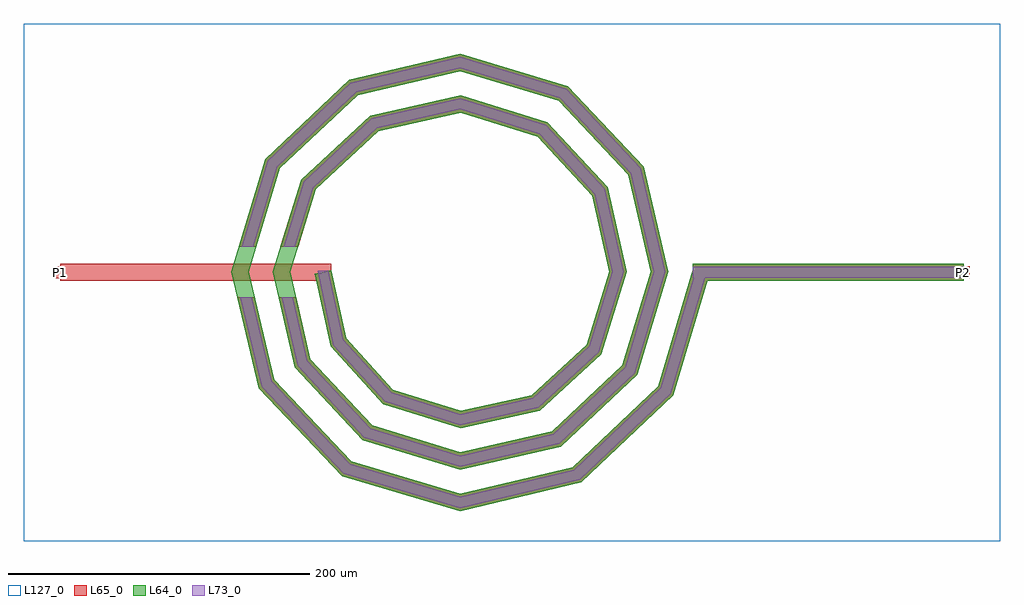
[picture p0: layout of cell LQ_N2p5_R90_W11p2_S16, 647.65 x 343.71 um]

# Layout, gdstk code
import gdstk
lib = gdstk.Library(unit=1e-6, precision=1e-09)
def R(c, l, rs):  # rectangles x0, y0, x1, y1
    for r in rs: c.add(gdstk.rectangle(r[:2], r[2:], *l))
def P(c, l, *ps):  # polygons
    for p in ps: c.add(gdstk.Polygon(p, *l))
L64_0 = (64, 0)
L65_0 = (65, 0)
L73_0 = (73, 0)
L127_0 = (127, 0)

lq_n2p5_r90_w11p2_s16 = lib.new_cell('LQ_N2p5_R90_W11p2_S16')
R(lq_n2p5_r90_w11p2_s16, L64_0, [(154.214,-5.6,334.214,5.6)])
P(lq_n2p5_r90_w11p2_s16, L64_0, [(-75.673,-43.997),(-44.688,-77.921),(0.253,-92.118),(47.42,-81.638),(83.868,-48.142),(98.996,0.237),(87.602,50.845),(51.594,89.817),(0.222,105.873),(-54.271,93.566),(-95.766,55.045),(-112.751,0.209),(-99.528,-57.699),(-58.494,-101.717),(0.198,-119.629),(61.129,-105.49),(107.668,-61.942),(126.506,0.187),(111.451,64.559),(65.389,113.619),(0.178,133.384),(-67.99,117.412),(-119.571,68.835),(-140.262,0.17),(-123.372,-71.422),(-72.281,-125.524),(0.162,-147.14),(74.855,-129.333),(131.477,-75.726),(154.445,1.595),(165.182,-1.595),(141.358,-81.795),(80.374,-139.531),(0.162,-158.731),(-78.362,-135.397),(-133.578,-76.928),(-151.853,0.17),(-129.437,74.929),(-73.482,127.625),(0.178,144.975),(71.498,123.476),(121.673,70.035),(138.096,0.187),(117.514,-68.067),(66.587,-115.721),(0.198,-131.218),(-64.637,-111.552),(-109.769,-63.139),(-124.34,0.209),(-105.589,61.208),(-59.689,103.819),(0.222,117.461),(57.78,99.625),(97.869,56.237),(110.583,0.237),(93.661,-54.354),(52.784,-91.92),(0.253,-103.704),(-50.93,-87.695),(-85.972,-49.329),(-96.504,-1.197),(-85.563,1.197)])
R(lq_n2p5_r90_w11p2_s16, L65_0, [(-265.433,-5.6,-85.433,5.6), (154.214,-5.6,334.214,5.6), (-269.433,-4,-261.433,4), (330.214,-4,338.214,4)])
P(lq_n2p5_r90_w11p2_s16, L65_0, [(-123.372,-71.422),(-72.281,-125.524),(0.162,-147.14),(74.855,-129.333),(131.477,-75.726),(154.445,1.595),(165.182,-1.595),(141.358,-81.795),(80.374,-139.531),(0.162,-158.731),(-78.362,-135.397),(-133.578,-76.928),(-147.83,-16.8),(-136.32,-16.8)],
  [(-99.528,-57.699),(-58.494,-101.717),(0.198,-119.629),(61.129,-105.49),(107.668,-61.942),(126.506,0.187),(111.451,64.559),(65.389,113.619),(0.178,133.384),(-67.99,117.412),(-119.571,68.835),(-135.174,16.8),(-146.866,16.8),(-129.437,74.929),(-73.482,127.625),(0.178,144.975),(71.498,123.476),(121.673,70.035),(138.096,0.187),(117.514,-68.067),(66.587,-115.721),(0.198,-131.218),(-64.637,-111.552),(-109.769,-63.139),(-120.427,-16.8),(-108.935,-16.8)],
  [(-44.688,-77.921),(0.253,-92.118),(47.42,-81.638),(83.868,-48.142),(98.996,0.237),(87.603,50.845),(51.594,89.817),(0.222,105.873),(-54.271,93.566),(-95.766,55.045),(-107.523,16.8),(-119.24,16.8),(-105.589,61.208),(-59.689,103.819),(0.222,117.461),(57.78,99.625),(97.869,56.237),(110.583,0.237),(93.661,-54.354),(52.784,-91.92),(0.253,-103.704),(-50.93,-87.695),(-85.972,-49.329),(-96.504,-1.197),(-85.563,1.197),(-75.673,-43.997)])
R(lq_n2p5_r90_w11p2_s16, L73_0, [(154.214,-3.6,334.214,3.6)])
P(lq_n2p5_r90_w11p2_s16, L73_0, [(-125.195,-72.405),(-73.367,-127.287),(0.104,-149.21),(75.84,-131.154),(133.241,-76.81),(156.363,1.025),(163.265,-1.025),(139.593,-80.711),(79.388,-137.71),(0.104,-156.661),(-77.276,-133.634),(-131.755,-75.945),(-145.775,-16.8),(-138.375,-16.8)],
  [(-101.357,-58.671),(-59.591,-103.473),(0.127,-121.698),(62.104,-107.317),(109.426,-63.036),(128.576,0.121),(113.276,65.537),(66.48,115.379),(0.115,135.454),(-68.971,119.236),(-121.333,69.924),(-137.262,16.8),(-144.778,16.8),(-127.675,73.841),(-72.501,125.801),(0.115,142.905),(70.407,121.716),(119.847,69.057),(136.027,0.121),(115.756,-66.973),(65.613,-113.894),(0.127,-129.149),(-63.54,-109.796),(-107.941,-62.167),(-118.375,-16.8),(-110.987,-16.8)],
  [(-45.803,-79.666),(0.163,-94.187),(48.378,-83.474),(85.617,-49.252),(101.065,0.152),(89.436,51.808),(52.699,91.568),(0.143,107.943),(-55.239,95.397),(-97.52,56.145),(-109.615,16.8),(-117.147,16.8),(-103.835,60.107),(-58.721,101.988),(0.143,115.392),(56.676,97.874),(96.036,55.274),(108.514,0.152),(91.912,-53.245),(51.826,-90.084),(0.163,-101.635),(-49.815,-85.95),(-84.133,-48.377),(-94.55,0.77),(-87.516,0.77),(-77.512,-44.949)])
R(lq_n2p5_r90_w11p2_s16, L127_0, [(-289.433,-178.731,358.214,164.975)])
lq_n2p5_r90_w11p2_s16.add(gdstk.Label('P2', (334.214,0), layer=65, texttype=0))
lq_n2p5_r90_w11p2_s16.add(gdstk.Label('P1', (-265.433,0), layer=65, texttype=0))
lq_n2p5_r90_w11p2_s16.add(gdstk.Label('P2', (338.214,0), layer=145, texttype=0))
lq_n2p5_r90_w11p2_s16.add(gdstk.Label('P1', (-269.433,0), layer=145, texttype=0))

lib.write_gds('LQ_N2p5_R90_W11p2_S16.gds')
